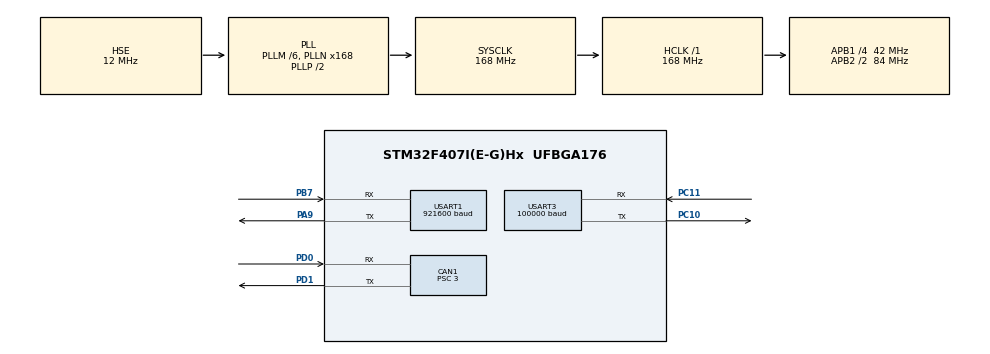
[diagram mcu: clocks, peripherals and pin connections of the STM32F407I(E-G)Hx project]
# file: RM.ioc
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CAN1.ABOM=ENABLE
CAN1.BS1=CAN_BS1_10TQ
CAN1.BS2=CAN_BS2_3TQ
CAN1.CalculateBaudRate=1000000
CAN1.CalculateTimeBit=1000
CAN1.CalculateTimeQuantum=71.42857142857143
CAN1.NART=ENABLE
CAN1.Prescaler=3
CAN1.RFLM=DISABLE
Dma.Request0=USART3_RX
Dma.Request1=USART1_RX
Dma.USART1_RX.1.Direction=DMA_PERIPH_TO_MEMORY
Dma.USART1_RX.1.FIFOMode=DMA_FIFOMODE_DISABLE
Dma.USART1_RX.1.Instance=DMA2_Stream2
Dma.USART1_RX.1.MemDataAlignment=DMA_MDATAALIGN_BYTE
Dma.USART1_RX.1.MemInc=DMA_MINC_ENABLE
Dma.USART1_RX.1.Mode=DMA_NORMAL
Dma.USART1_RX.1.PeriphDataAlignment=DMA_PDATAALIGN_BYTE
Dma.USART1_RX.1.PeriphInc=DMA_PINC_DISABLE
Dma.USART1_RX.1.Priority=DMA_PRIORITY_LOW
Dma.USART3_RX.0.Direction=DMA_PERIPH_TO_MEMORY
Dma.USART3_RX.0.FIFOMode=DMA_FIFOMODE_DISABLE
Dma.USART3_RX.0.Instance=DMA1_Stream1
Dma.USART3_RX.0.MemDataAlignment=DMA_MDATAALIGN_BYTE
Dma.USART3_RX.0.MemInc=DMA_MINC_ENABLE
Dma.USART3_RX.0.Mode=DMA_NORMAL
Dma.USART3_RX.0.PeriphDataAlignment=DMA_PDATAALIGN_BYTE
Dma.USART3_RX.0.PeriphInc=DMA_PINC_DISABLE
Dma.USART3_RX.0.Priority=DMA_PRIORITY_LOW
IWDG.Prescaler=IWDG_PRESCALER_32
Mcu.Family=STM32F4
Mcu.Name=STM32F407I(E-G)Hx
Mcu.Package=UFBGA176
NVIC.CAN1_RX0_IRQn=true\:0\:0\:true\:false\:true\:true\:true\:true
NVIC.CAN1_RX1_IRQn=true\:0\:0\:true\:false\:true\:true\:true\:true
NVIC.DMA1_Stream1_IRQn=true\:0\:0\:false\:false\:true\:false\:true\:true
NVIC.DMA2_Stream2_IRQn=true\:0\:0\:false\:false\:true\:false\:true\:true
NVIC.PriorityGroup=NVIC_PRIORITYGROUP_4
NVIC.TIM2_IRQn=true\:0\:0\:false\:false\:true\:true\:true\:true
NVIC.TIM6_DAC_IRQn=true\:15\:0\:false\:false\:true\:false\:true\:true
NVIC.TimeBase=TIM6_DAC_IRQn
NVIC.TimeBaseIP=TIM6
NVIC.USART1_IRQn=true\:0\:0\:false\:false\:true\:true\:true\:true
NVIC.USART3_IRQn=true\:0\:0\:true\:false\:true\:true\:true\:true
PA13.Mode=Serial_Wire
PA13.Signal=SYS_JTMS-SWDIO
PA14.Mode=Serial_Wire
PA14.Signal=SYS_JTCK-SWCLK
PA9.Mode=Asynchronous
PA9.Signal=USART1_TX
PB7.Mode=Asynchronous
PB7.Signal=USART1_RX
PC10.Mode=Asynchronous
PC10.Signal=USART3_TX
PC11.Mode=Asynchronous
PC11.Signal=USART3_RX
PD0.Mode=CAN_Activate
PD0.Signal=CAN1_RX
PD1.Mode=CAN_Activate
PD1.Signal=CAN1_TX
PH0-OSC_IN.Mode=HSE-External-Oscillator
PH0-OSC_IN.Signal=RCC_OSC_IN
PH1-OSC_OUT.Mode=HSE-External-Oscillator
PH1-OSC_OUT.Signal=RCC_OSC_OUT
ProjectManager.HeapSize=0x200
ProjectManager.StackSize=0x400
ProjectManager.TargetToolchain=MDK-ARM V5
RCC.48MHZClocksFreq_Value=84000000
RCC.AHBFreq_Value=168000000
RCC.APB1CLKDivider=RCC_HCLK_DIV4
RCC.APB1Freq_Value=42000000
RCC.APB1TimFreq_Value=84000000
RCC.APB2CLKDivider=RCC_HCLK_DIV2
RCC.APB2Freq_Value=84000000
RCC.APB2TimFreq_Value=168000000
RCC.CortexFreq_Value=168000000
RCC.HCLKFreq_Value=168000000
RCC.HSE_VALUE=12000000
RCC.HSI_VALUE=16000000
RCC.LSE_VALUE=32768
RCC.PLLM=6
RCC.PLLN=168
RCC.PLLSourceVirtual=RCC_PLLSOURCE_HSE
RCC.SYSCLKFreq_VALUE=168000000
RCC.SYSCLKSource=RCC_SYSCLKSOURCE_PLLCLK
RCC.VCOOutputFreq_Value=336000000
TIM2.Period=999
TIM2.Prescaler=839
USART1.BaudRate=921600
USART1.VirtualMode=VM_ASYNC
USART3.BaudRate=100000
USART3.Parity=PARITY_EVEN
USART3.VirtualMode=VM_ASYNC
USART3.WordLength=WORDLENGTH_9B
VP_IWDG_VS_IWDG.Mode=IWDG_Activate
VP_SYS_VS_tim6.Mode=TIM6
VP_TIM2_VS_ClockSourceINT.Mode=Internal
board=custom

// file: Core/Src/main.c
/* USER CODE BEGIN Header */
/**
  ******************************************************************************
  * @file           : main.c
  * @brief          : Main program body
  ******************************************************************************
  * @attention
  *
  * Copyright (c) 2025 STMicroelectronics.
  * All rights reserved.
  *
  * This software is licensed under terms that can be found in the LICENSE file
  * in the root directory of this software component.
  * If no LICENSE file comes with this software, it is provided AS-IS.
  *
  ******************************************************************************
  */
/* USER CODE END Header */
#include "main.h"
#include "can.h"
#include "dma.h"
#include "iwdg.h"
#include "tim.h"
#include "usart.h"
#include "gpio.h"

/* USER CODE BEGIN Includes */
#include "pid.h"
#include "mycan.h"
#include "dr16.h"
#include <string.h>
#include "imu.h"
#include "chassic.h"
#include "conter.h"
#include "gimbal.h"
#include "shoot.h"
/* USER CODE END Includes */

/* USER CODE BEGIN PV */
uint8_t *sbus_buffer;
RC_Ctl_t *pbus;
RC_Ctl_t *rcdata;
MotorData *motor;
uint8_t *imubuff;
AHRS_FEED *imu_feed;
//建立中断函数参数指针，需要赋予地址避免成为野指针
//射击三个电机（1个2006--0x205，两个3508--0x206、0x207）使用0x1ff标识符，二维云台使用0x2ff（两个6020）,底盘使用0x200（四个3508,0x201--0x204）
//共九个电机

///
PidConfig PidData[6]=
	{
	{.kp=1.1,.ki= 0.03,.kd=0,.out_max=5000,.i_max=1000,.dead_zone=10},
	{.kp=1.0,.ki= 0.01,.kd=0,.out_max=5000,.i_max=1000,.dead_zone=10},
	{.kp=1.0,.ki= 0.01,.kd=0,.out_max=5000,.i_max=1000,.dead_zone=10},
	{.kp=1.0,.ki= 0.01,.kd=0,.out_max=5000,.i_max=1000,.dead_zone=10},
	{.kp=2.0,.ki= 0.01,.kd=0,.out_max=25000,.i_max=100,.dead_zone=10,.improve = PID_Integral_limit, //| PID_ChangingIntegrationRate,
	.Output_LPF_RC = 0.5,},
	{.kp=180,.ki= 0.01,.kd=0,.out_max=5000,.i_max=100,.dead_zone=10,.improve = PID_Integral_limit, //| PID_ChangingIntegrationRate,
	.Output_LPF_RC = 0.5,},
	};
	//测试使用的垃圾不用管
/* USER CODE END PV */

void SystemClock_Config(void);

int main(void)
{

  /* MCU Configuration--------------------------------------------------------*/

  /* Reset of all peripherals, Initializes the Flash interface and the Systick. */
  HAL_Init();

  /* Configure the system clock */
  SystemClock_Config();

  /* Initialize all configured peripherals */
  MX_GPIO_Init();
  MX_DMA_Init();
  MX_CAN1_Init();
  MX_USART3_UART_Init();
  MX_TIM2_Init();
  MX_IWDG_Init();
  MX_USART1_UART_Init();
  /* USER CODE BEGIN 2 */

   ////
	sbus_buffer = GiveBuffer();
	rcdata = GetRCData();
	motor = GetMotorData();
	imubuff = GiveAHRSBuffer();
	imu_feed = GetAHSRFeed();
	////用于中断指针参数赋予地址
	MycanInit();
	///
	GlobalInit();
	///
	PidAllInit(6,PidData);

	HAL_TIM_Base_Start_IT(&htim2);
	HAL_UARTEx_ReceiveToIdle_DMA(&huart1, imubuff, 128);
	__HAL_DMA_DISABLE_IT(huart1.hdmarx, DMA_IT_HT);
	HAL_UARTEx_ReceiveToIdle_DMA(&huart3, sbus_buffer, 256);
	__HAL_DMA_DISABLE_IT(huart3.hdmarx, DMA_IT_HT);

  /* USER CODE END 2 */

  /* Infinite loop */
  while (1)
  {

  }
}

void SystemClock_Config(void)
{
  RCC_OscInitTypeDef RCC_OscInitStruct = {0};
  RCC_ClkInitTypeDef RCC_ClkInitStruct = {0};

  /** Configure the main internal regulator output voltage
  */
  __HAL_RCC_PWR_CLK_ENABLE();
  __HAL_PWR_VOLTAGESCALING_CONFIG(PWR_REGULATOR_VOLTAGE_SCALE1);

  /** Initializes the RCC Oscillators according to the specified parameters
  * in the RCC_OscInitTypeDef structure.
  */
  RCC_OscInitStruct.OscillatorType = RCC_OSCILLATORTYPE_LSI|RCC_OSCILLATORTYPE_HSE;
  RCC_OscInitStruct.HSEState = RCC_HSE_ON;
  RCC_OscInitStruct.LSIState = RCC_LSI_ON;
  RCC_OscInitStruct.PLL.PLLState = RCC_PLL_ON;
  RCC_OscInitStruct.PLL.PLLSource = RCC_PLLSOURCE_HSE;
  RCC_OscInitStruct.PLL.PLLM = 6;
  RCC_OscInitStruct.PLL.PLLN = 168;
  RCC_OscInitStruct.PLL.PLLP = RCC_PLLP_DIV2;
  RCC_OscInitStruct.PLL.PLLQ = 4;
  if (HAL_RCC_OscConfig(&RCC_OscInitStruct) != HAL_OK)
  {
    Error_Handler();
  }

  /** Initializes the CPU, AHB and APB buses clocks
  */
  RCC_ClkInitStruct.ClockType = RCC_CLOCKTYPE_HCLK|RCC_CLOCKTYPE_SYSCLK
                              |RCC_CLOCKTYPE_PCLK1|RCC_CLOCKTYPE_PCLK2;
  RCC_ClkInitStruct.SYSCLKSource = RCC_SYSCLKSOURCE_PLLCLK;
  RCC_ClkInitStruct.AHBCLKDivider = RCC_SYSCLK_DIV1;
  RCC_ClkInitStruct.APB1CLKDivider = RCC_HCLK_DIV4;
  RCC_ClkInitStruct.APB2CLKDivider = RCC_HCLK_DIV2;

  if (HAL_RCC_ClockConfig(&RCC_ClkInitStruct, FLASH_LATENCY_5) != HAL_OK)
  {
    Error_Handler();
  }
}

/* USER CODE BEGIN 4 */
void HAL_UART_IDLE_IRQHandler(UART_HandleTypeDef *huart)
{
    /* 1. 确认中断源为USART3 */
  if (huart->Instance == USART3)
  {
	  HAL_IWDG_Refresh(&hiwdg);
	uint32_t DMA_FLAGS3,tmp3;
        /* 2. 获取DMA接收句柄 */
       if (__HAL_UART_GET_FLAG(huart, UART_FLAG_IDLE))
		{
		tmp3=huart->Instance->SR;
		tmp3=huart->Instance->DR;
		tmp3++;
        DMA_FLAGS3 = __HAL_DMA_GET_TC_FLAG_INDEX(huart->hdmarx);
        __HAL_DMA_DISABLE(huart->hdmarx);
		__HAL_DMA_CLEAR_FLAG(huart->hdmarx, DMA_FLAGS3);
		huart->hdmarx->Instance->NDTR = huart->RxXferSize;
		__HAL_DMA_ENABLE(huart->hdmarx);
        }
	RemoteDataProcess(sbus_buffer);
    }
  if (huart->Instance == USART1)
	{
		uint32_t DMA_FLAGS1, tmp1;
		if (__HAL_UART_GET_FLAG(huart, UART_FLAG_IDLE))
		{
		tmp1 = huart->Instance->SR;
		tmp1 = huart->Instance->DR;
		tmp1++;
		DMA_FLAGS1 = __HAL_DMA_GET_TC_FLAG_INDEX(huart->hdmarx);
		__HAL_DMA_DISABLE(huart->hdmarx);
		__HAL_DMA_CLEAR_FLAG(huart->hdmarx, DMA_FLAGS1);

		huart->hdmarx->Instance->NDTR = huart->RxXferSize;
		__HAL_DMA_ENABLE(huart->hdmarx);
		}
		AHRSPackHandle(imubuff);
		HAL_UARTEx_ReceiveToIdle_DMA(&huart1, imubuff, 128);
		__HAL_DMA_DISABLE_IT(huart1.hdmarx, DMA_IT_HT);
	}
}
/* USER CODE END 4 */

void HAL_TIM_PeriodElapsedCallback(TIM_HandleTypeDef *htim)
{
  /* USER CODE BEGIN Callback 0 */
	if(htim->Instance==TIM2)
	{
//	float angle = (rcdata->rc.ch1 - 1024.0f) * 180.0f/660.0f;
//	PidReturn(&PidData[0].pid,-5000,motor[4].speed);
//	PidReturn(&PidData[5].pid,-90.0f,motor[8].total_angle);
//	PidReturn(&PidData[4].pid,PidData[5].pid.out,motor[8].speed);
//	CanMotorTransmit(0x2ff,0,PidData[4].pid.out,0,0);
//	CanMotorTransmit(0x1ff,0,PidData[0].pid.out,0,0);
//		CanMotorTransmit(0x1ff,0,0,PidData[0].pid.out,0);
//		CanMotorTransmit(0x1ff,PidData[0].pid.out,0,0,0);
		GlobalModeSelect();
//		ChassicControl();
//		GimbalControl();
		ShootControl();
	}
  /* USER CODE END Callback 0 */
  if (htim->Instance == TIM6)
  {
    HAL_IncTick();
  }
}

void Error_Handler(void)
{
  __disable_irq();
  while (1)
  {
  }
}
